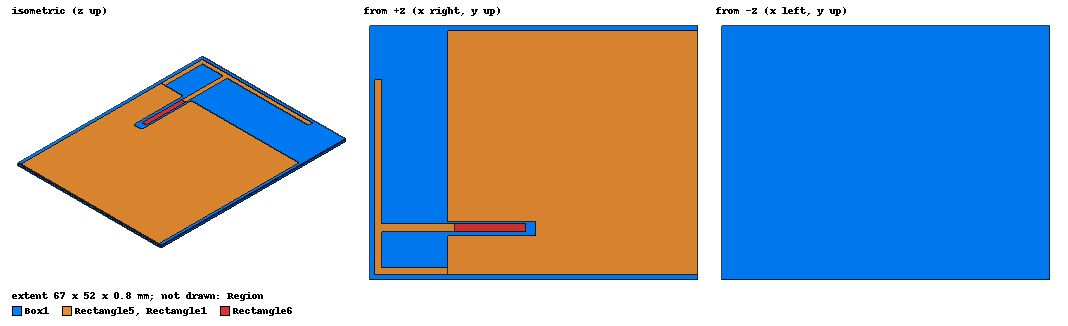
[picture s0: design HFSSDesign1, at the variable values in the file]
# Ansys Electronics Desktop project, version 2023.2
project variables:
  $F = 24.073177mm
  $l6 = 1mm
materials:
  vacuum: permittivity=1
  FR4_epoxy: permittivity=4.4 dielectric_loss_tangent=0.02
  air: permittivity=1.0006 permeability=1.0000004
  copper: permeability=0.999991 conductivity=58000000

design HFSSDesign1 (HFSS, HFSS Terminal Network, model units mm)
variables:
  w = 1mm
  w2 = 1.45376227mm
  l6 = 1mm
  F = 0.43048694mm
  l = 1mm
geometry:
  Box1 [FR4_epoxy] = box(corner=(-1mm, -1mm, 0mm), size=(67mm, 52mm, -0.8mm))
  Region [air] = region(absolute_offset=15mm on all sides)
  Rectangle1 = rectangle(corner=(0mm, 0mm, 0mm), x_size=15mm, y_size=w2)
  Rectangle2 = rectangle(corner=(0mm, 1.5mm, 0mm), x_size=w2, y_size=38.534031mm)
  Rectangle2.move(0mm, -0.04623773mm, 0mm)
  Rectangle4 = rectangle(corner=(1.45376227mm, 8.95376227mm, 0mm), x_size=15mm, y_size=w2)
  Rectangle5 = rectangle(corner=(15mm, 0mm, 0mm), x_size=51mm, y_size=50mm)
  Rectangle6 = rectangle(corner=(16.45376227mm, 8.95376227mm, 0mm), x_size=14.34mm, y_size=w2)
  Rectangle7 = rectangle(corner=(15mm, 8mm, 0mm), x_size=18mm, y_size=3mm)
  Rectangle5.subtract(Rectangle7)
  Rectangle1.unite(Rectangle2, Rectangle4)
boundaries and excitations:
  Rad1: Radiation Objects=Region
  PerfE1: Perfect E Objects=[Rectangle1, Rectangle5]
  1: Lumped Port Objects=Rectangle6 LumpedPortType=Modal Modes{Mode1{IntLine{(30.79376227, 9.680643405, 0) -> (16.45376227, 9.680643405, 0)} CharImp=Zpi}} Impedance=50ohm
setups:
  Setup1: HfssDriven Frequency=0.9GHz MaxDeltaS=0.02 MaximumPasses=6 MinimumPasses=1 MinimumConvergedPasses=1 PercentRefinement=30 BasisOrder=1 PortAccuracy=2 DrivenSolverType="Direct Solver"
    sweep Sweep: 0.45GHz to 2.5GHz, 401 points; Type=Interpolating SaveFields SaveRadFields InterpTolerance=0.5 InterpMaxSolns=250 PassivityErrorTolerance=0.0001
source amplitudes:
  1:1: 1V 0deg
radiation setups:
  Infinite Sphere1: Infinite Sphere Theta=0deg..360deg step 2deg Phi=0deg..180deg step 2deg
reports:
  Terminal S Parameter Chart 1: St(1,1) on Setup1 : Sweep [Freq=all]
  Terminal S Parameter Plot 1: dB(St(1,1)) vs Freq on Setup1 : Sweep

design Circuit1 (Circuit)
options: SParamCircuitDef IntegrationMethod=FFT
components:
  S7 = HFSSDesign4()
  U9 = Circuit2()
  port Port1 rz=50ohm iz=0ohm EnableNoise=false noisetemp=16.85cel
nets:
  net_1: U9.1, S7.0
  Port1: U9.0
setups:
  LinearFrequency: LinearFrequencyData(false, 0.1, false, "", false) SweepDefinition{Variable=Freq Data="LINC 0.4GHz 2.4GHz 400"}
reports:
  S Parameter Plot 1: dB(S(Port1,Port1)) vs Freq on LinearFrequency : LinearFrequency; markers m1 at 0.86115288GHz
  S Parameter Chart 1: S(Port1,Port1) on LinearFrequency : LinearFrequency [Freq=all]
  S-Parameters: S(Port1,Port1) on LinearFrequency : LinearFrequency [Freq=all]
  S-Parameters1: S(Port1,Port1) on LinearFrequency : LinearFrequency [Freq=all]
  S-Parameters2: S(Port1,Port1) on LinearFrequency : LinearFrequency [Freq=all]
  S-Parameters3: S(Port1,Port1) on LinearFrequency : LinearFrequency [Freq=all]

design Circuit2 (Circuit)
options: SParamCircuitDef IntegrationMethod=FFT
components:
  C10 = CAP_(C=1.29pF)
  L11 = IND_(L=25.81nH)
  port Port1 rz=50ohm iz=0ohm EnableNoise=false noisetemp=16.85cel
  port Port2 rz=50ohm iz=0ohm EnableNoise=false noisetemp=16.85cel
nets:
  0: L11.1
  Port1: C10.0
  Port2: C10.1, L11.0
